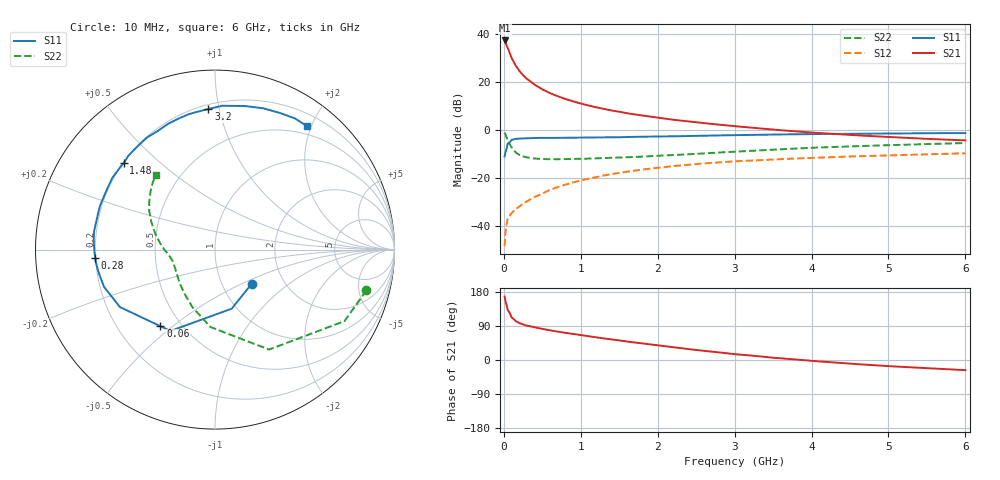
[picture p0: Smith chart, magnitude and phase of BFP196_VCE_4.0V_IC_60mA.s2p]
! Infineon Technologies  Discrete & RF Semiconductors
! BFP196
! VCE = 4.0 V,  IC =  60mA
! Common Emitter S-Parameters:  Jan 2016
# GHz  S  MA  R  50
!  f  S11  S21  S12  S22
! GHz  MAG  ANG  MAG  ANG  MAG  ANG  MAG  ANG
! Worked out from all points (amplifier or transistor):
!   210 points, 10 MHz to 6 GHz, reference 50 ohm
!   highest |S21| = 37.4 dB at 10 MHz (marker M1)
!   |S21| within 3 dB of that: start of sweep to 48.08 MHz
!   unconditionally stable (mu >= 1): 437.9 MHz to 4.433 GHz
!   at 185 MHz: K = 0.75, MSG = 29.0 dB, |S12| = -32.4 dB
!   at 1.52 GHz: K = 1.08, MAG = 10.9 dB, |S12| = -17.9 dB
!   at 6 GHz: K = 0.97, MSG = 2.7 dB, |S12| = -9.8 dB
!   S11 on the Smith chart (normalised r, x): 10 MHz: 1.38, -0.57; 60 MHz: 0.39, -0.45; 280 MHz: 0.20, -0.03; 1.48 GHz: 0.20, +0.38; 3.2 GHz: 0.23, +0.93; 6 GHz: 0.37, +1.93
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0.01  0.2791 -42.6  74.25 167.8  0.0037 78.9  0.8738 -15.1
0.02  0.342 -74.2  68.94 155.9  0.0069 71.9  0.8243 -28.9
0.05  0.5168 -118.7  51.78 131.9  0.0138 54.3  0.6331 -61.6
0.06  0.5242 -125.5  47.53 129.3  0.0147 53.2  0.5818 -66.1
0.1  0.6186 -148.8  32.13 112.5  0.0181 50.0  0.4322 -93.3
0.15  0.6521 -161.4  22.54 103.0  0.0219 51.0  0.3444 -111.4
0.2  0.6604 -168.6  17.27 97.3  0.0248 54.0  0.3017 -123.5
0.24  0.6657 -172.8  14.53 94.3  0.0278 55.8  0.2826 -130.8
0.28  0.6692 -176.1  12.52 91.8  0.0307 57.8  0.2708 -136.4
0.3  0.6709 -177.7  11.64 90.5  0.0321 58.8  0.2662 -138.9
0.4  0.6775 176.3  8.801 86.0  0.0395 61.8  0.252 -148.2
0.5  0.6815 171.5  7.049 82.1  0.0467 62.7  0.2458 -154.0
0.6  0.6797 166.7  5.885 78.2  0.0555 63.4  0.2438 -158.1
0.7  0.6819 162.8  5.057 74.6  0.0634 63.4  0.2436 -161.3
1.02  0.689 151.0  3.488 65.0  0.0891 61.4  0.2485 -167.9
1.48  0.7009 136.5  2.428 52.3  0.1248 55.9  0.2631 -174.1
2.02  0.7303 120.9  1.78 38.3  0.1627 48.0  0.2879 178.3
3.1  0.7795 94.7  1.158 13.8  0.224 31.9  0.3566 162.4
3.2  0.7839 92.7  1.12 12.0  0.2282 30.5  0.3637 160.8
4.1  0.8193 76.7  0.86 -3.7  0.2632 19.2  0.4288 148.7
5.1  0.8447 63.3  0.698 -17.2  0.2966 8.0  0.4843 137.8
6  0.8581 53.4  0.604 -26.8  0.3246 -2.0  0.5312 128.6
